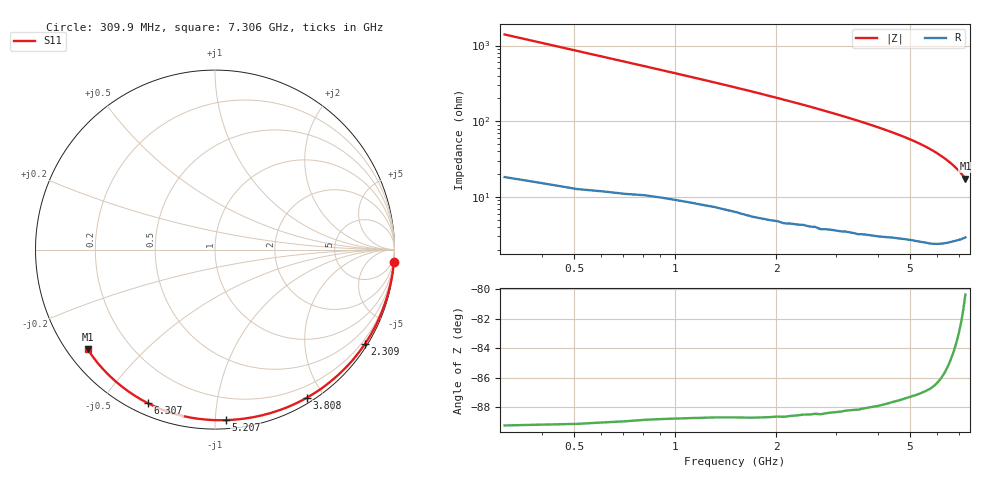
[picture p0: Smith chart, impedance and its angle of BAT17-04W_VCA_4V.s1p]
! Infineon Technologies  Discrete & RF Semiconductors
! BAT17-04W
! VCA = 4 V
! One-Port S-Parameters
# Hz  S  MA  R  50
!f  S11
!Hz  Mag  Ang
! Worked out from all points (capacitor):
!   71 points, 309.9 MHz to 7.306 GHz, reference 50 ohm
!   read as one part to ground: C = 367 fF near 309.9 MHz
!   lowest |Z| = 17.4 ohm at 7.306 GHz (marker M1)
!   S11 on the Smith chart (normalised r, x): 309.9 MHz: 0, -28; 2.309 GHz: 0.09, -3.45; 3.808 GHz: 0.06, -1.80; 5.207 GHz: 0.05, -1.06; 6.307 GHz: 0.05, -0.65; 7.306 GHz: 0.06, -0.34
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3.0985e8  0.9991 -4.1
7.0965e8  0.9971 -9.4
1.2094e9  0.9939 -16.1
1.50925e9  0.9922 -20.3
1.70915e9  0.9913 -23.2
2.10895e9  0.9887 -29.2
2.30885e9  0.9868 -32.3
2.70865e9  0.9837 -38.8
3.0085e9  0.9802 -43.8
3.4083e9  0.9758 -50.8
3.8081e9  0.971 -58.2
4.10795e9  0.9672 -63.9
4.30785e9  0.9643 -67.8
4.50775e9  0.9613 -71.7
4.70765e9  0.9586 -75.8
5.0075e9  0.9545 -82.1
5.2074e9  0.9521 -86.4
5.4073e9  0.9497 -91.0
5.6072e9  0.9472 -95.6
5.8071e9  0.9446 -100.5
6.007e9  0.9411 -105.6
6.10695e9  0.939 -108.2
6.30685e9  0.9341 -113.5
6.50675e9  0.9285 -119.0
6.70665e9  0.9224 -124.5
6.90655e9  0.916 -130.2
7.10645e9  0.9092 -136.0
7.30635e9  0.901 -142.0
